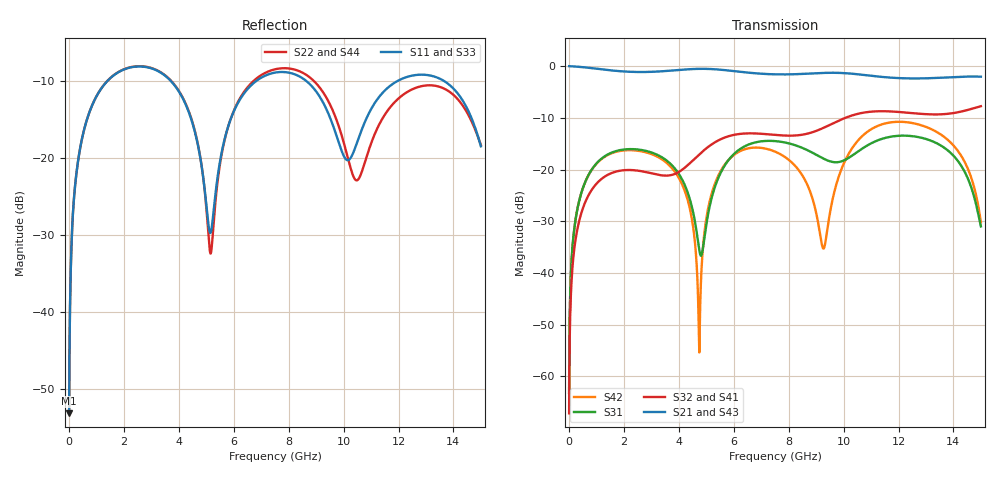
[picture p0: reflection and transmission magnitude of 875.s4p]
! Created with skrf 1.8.0 (http://scikit-rf.org).
# GHz S RI R 50.0
!freq ReS11 ImS11 ReS12 ImS12 ReS13 ImS13
! ReS14 ImS14
! ReS21 ImS21 ReS22 ImS22 ReS23 ImS23
! ReS24 ImS24
! ReS31 ImS31 ReS32 ImS32 ReS33 ImS33
! ReS34 ImS34
! ReS41 ImS41 ReS42 ImS42 ReS43 ImS43
! ReS44 ImS44
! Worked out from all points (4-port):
!   2499 points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, 5 MHz to 15 GHz, reference 50 ohm
!   strongest paths, dB at 5 MHz, 3.476 GHz, 7.19 GHz, 11.1 GHz, 15 GHz:
!     S21: 0.0, -1.0, -1.5, -1.9, -2.0
!     S43: 0.0, -1.0, -1.5, -1.9, -2.0
!     S32: -67.1, -21.2, -13.2, -8.8, -7.8
!     S41: -67.1, -21.3, -13.2, -8.8, -7.8
!     S31: -63.2, -17.9, -14.5, -14.7, -31.0
!     S42: -63.2, -18.4, -16.0, -11.9, -30.2
!   lowest |S11| = -53.2 dB at 5 MHz (marker M1), VSWR 1.00, Z = 50.2 + j0.133 ohm
!   |S11| at or under -10 dB: start of sweep to 1.402 GHz; 3.707 GHz to 6.823 GHz (3.116 GHz wide, 59.2 % of centre); 8.639 GHz to 11.97 GHz (3.331 GHz wide, 32.3 % of centre) (the widest 3 of 4)
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0.005  0.00174 0.00132  0.9982 -0.00339  8.77e-05 0.000688  -8.52e-05 -0.000432
       0.9982 -0.00339  0.00174 0.00132  -8.52e-05 -0.000432  8.76e-05 0.000688
       8.77e-05 0.000688  -8.52e-05 -0.000432  0.00174 0.00132  0.9982 -0.00339
       -8.52e-05 -0.000432  8.76e-05 0.000688  0.9982 -0.00339  0.00174 0.00132
0.3626511  0.0334 0.0985  0.9538 -0.2417  0.0163 0.0459  -0.0132 -0.0282
           0.9538 -0.2417  0.0335 0.0985  -0.0132 -0.0282  0.0156 0.0461
           0.0163 0.0459  -0.0132 -0.0282  0.0334 0.0985  0.9538 -0.2417
           -0.0132 -0.0282  0.0156 0.0461  0.9538 -0.2417  0.0335 0.0985
1.67  0.3099 0.1582  0.4532 -0.7792  0.1436 0.0418  -0.0941 0.00965
      0.4532 -0.7792  0.312 0.1563  -0.0943 0.00998  0.1378 0.0519
      0.1436 0.0418  -0.0943 0.00998  0.3098 0.1583  0.4532 -0.7792
      -0.0941 0.00965  0.1378 0.0519  0.4532 -0.7792  0.3122 0.1561
4.745727  0.0553 -0.0936  -0.8893 -0.3062  -0.0145 -0.00812  -0.043 0.1334
          -0.8893 -0.3062  0.0476 -0.0993  -0.0396 0.1345  0.0016 0.000604
          -0.0145 -0.00812  -0.0396 0.1345  0.0564 -0.0936  -0.8893 -0.3061
          -0.043 0.1334  0.0016 0.000604  -0.8893 -0.3061  0.0468 -0.0999
7.890788  0.3601 -0.0087  -0.0381 0.8301  0.1297 -0.1277  0.206 -0.0441
          -0.0381 0.8301  0.3816 -0.0227  0.2064 -0.0525  0.1266 -0.0326
          0.1297 -0.1277  0.2064 -0.0525  0.3602 -0.00697  -0.0376 0.8296
          0.206 -0.0441  0.1266 -0.0326  -0.0376 0.8296  0.384 -0.0239
10.66694  0.1316 0.0786  0.8235 -0.0518  -0.024 0.1568  -0.0344 -0.3501
          0.8235 -0.0518  0.0795 0.0182  -0.05 -0.3488  0.1224 0.1696
          -0.024 0.1568  -0.05 -0.3488  0.133 0.0722  0.8237 -0.0516
          -0.0344 -0.3501  0.1224 0.1696  0.8237 -0.0516  0.0803 0.0177
15  0.0879 -0.0799  -0.6604 -0.4336  -0.0242 -0.0145  -0.2265 0.341
    -0.6604 -0.4336  0.1033 -0.0636  -0.1981 0.3584  -0.021 -0.0228
    -0.0242 -0.0145  -0.1981 0.3584  0.0986 -0.0736  -0.662 -0.4311
    -0.2265 0.341  -0.021 -0.0228  -0.662 -0.4311  0.0919 -0.0711
